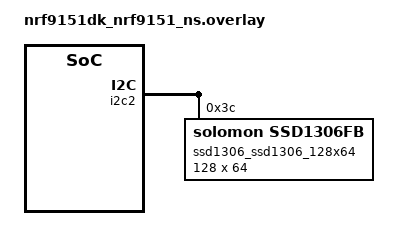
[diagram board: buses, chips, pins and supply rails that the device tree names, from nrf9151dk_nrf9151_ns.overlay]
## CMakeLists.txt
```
# SPDX-License-Identifier: Apache-2.0

cmake_minimum_required(VERSION 3.20.0)

find_package(Zephyr REQUIRED HINTS $ENV{ZEPHYR_BASE})
project(hello_world)

target_sources(app PRIVATE src/main.c)
target_include_directories(app PRIVATE src)
target_sources_ifdef(CONFIG_NRF_CLOUD_COAP app PRIVATE src/cloud_coap.c)
```

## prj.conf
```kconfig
# Logging
CONFIG_NRF_MODEM_LIB_TRACE=n
CONFIG_LOG=y
CONFIG_CFB_LOG_LEVEL_DBG=y

CONFIG_SERIAL=y
CONFIG_THREAD_NAME=y

CONFIG_NRF_CLOUD_LOG_LEVEL_DBG=y
CONFIG_NET_LOG=y
CONFIG_COAP_LOG_LEVEL_DBG=y
CONFIG_CLOUD_DISPLAY_LOG_LEVEL_DBG=y
CONFIG_LTE_LINK_CONTROL_LOG_LEVEL_DBG=n
CONFIG_NRF_PROVISIONING_LOG_LEVEL_DBG=y

# Display
CONFIG_DISPLAY=y
CONFIG_CHARACTER_FRAMEBUFFER=y
CONFIG_SHELL=y
CONFIG_CHARACTER_FRAMEBUFFER_SHELL=y

# Modem
CONFIG_NRF_MODEM_LIB=y
CONFIG_LTE_LINK_CONTROL=y
CONFIG_LTE_NETWORK_MODE_LTE_M=y
CONFIG_LTE_PSM_REQ=n
CONFIG_NEWLIB_LIBC=y

CONFIG_NETWORKING=y
CONFIG_NET_SOCKETS=y
CONFIG_NET_SOCKETS_OFFLOAD=y
CONFIG_NET_SOCKETS_POSIX_NAMES=y
CONFIG_NET_IPV6=n

# System
CONFIG_HEAP_MEM_POOL_SIZE=16384
CONFIG_MAIN_STACK_SIZE=2048

# nRF Cloud CoAP
CONFIG_NRF_CLOUD_SEC_TAG=111
CONFIG_NRF_CLOUD_CLIENT_ID_SRC_INTERNAL_UUID=y
CONFIG_MODEM_JWT=y
CONFIG_NRF_CLOUD_COAP=y
CONFIG_NEWLIB_LIBC_FLOAT_PRINTF=y

CONFIG_COAP_CLIENT_BLOCK_SIZE=1024
CONFIG_COAP_CLIENT_STACK_SIZE=6144

# nRF Provisioning
CONFIG_MODEM_KEY_MGMT=y
CONFIG_MODEM_ATTEST_TOKEN=y
CONFIG_DATE_TIME=y

CONFIG_NRF_PROVISIONING=y
CONFIG_NRF_PROVISIONING_COAP=y
CONFIG_NRF_PROVISIONING_ROOT_CA_SEC_TAG=111110
CONFIG_COAP_EXTENDED_OPTIONS_LEN=y
CONFIG_COAP_EXTENDED_OPTIONS_LEN_VALUE=64
CONFIG_COAP_CLIENT_MESSAGE_SIZE=1536
CONFIG_NRF_PROVISIONING_AUTO_INIT=n
CONFIG_NRF_PROVISIONING_CODEC=y
CONFIG_NRF_PROVISIONING_CBOR=y
CONFIG_ZCBOR=y
CONFIG_ZCBOR_CANONICAL=y
CONFIG_NRF_PROVISIONING_CBOR_RECORDS=20
CONFIG_NRF_PROVISIONING_RX_BUF_SZ=2048

CONFIG_SETTINGS=y
CONFIG_SETTINGS_FCB=y
CONFIG_FCB=y
CONFIG_FLASH_MAP=y
CONFIG_FLASH=y
CONFIG_FLASH_PAGE_LAYOUT=y

CONFIG_MODEM_INFO=y
CONFIG_MODEM_INFO_ADD_DEVICE=n
CONFIG_MODEM_INFO_ADD_NETWORK=n
CONFIG_MODEM_INFO_ADD_SIM=n
```

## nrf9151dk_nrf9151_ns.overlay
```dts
#include <zephyr/dt-bindings/input/input-event-codes.h>

/ {
	chosen {
		zephyr,display = &ssd1306_ssd1306_128x64;
	};
};

&i2c2 {
	status = "okay";
	zephyr,flash-buf-max-size = <64>;
	zephyr,concat-buf-size = <2048>;

	ssd1306_ssd1306_128x64: ssd1306@3c {
		compatible = "solomon,ssd1306fb";
		reg = <0x3c>;
		width = <128>;
		height = <64>;
		segment-offset = <0>;
		page-offset = <0>;
		display-offset = <0>;
		multiplex-ratio = <63>;
		segment-remap;
		com-invdir;
		prechargep = <0x22>;
	};
};
```

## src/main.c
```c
/*
 * Copyright (c) 2012-2014 Wind River Systems, Inc.
 *
 * SPDX-License-Identifier: Apache-2.0
 */

#include <stdio.h>
#include <zephyr/logging/log.h> 

#include <zephyr/device.h>
#include <zephyr/display/cfb.h>
#include <zephyr/kernel.h>

/** Add includes needed for LTE connection **/
#include <modem/nrf_modem_lib.h>
#include <modem/lte_lc.h>

#include <modem/modem_key_mgmt.h>
#include <net/nrf_provisioning.h>
#include <zephyr/sys/reboot.h>
#include <cJSON.h>

#include "nrf_provisioning_at.h"

#include "cloud.h"

LOG_MODULE_REGISTER(workshop_code,LOG_LEVEL_DBG);
/* Semaphore used to block the main thread until modem has established
 * an LTE connection.
 */
K_SEM_DEFINE(lte_connected, 0, 1);
K_SEM_DEFINE(provisioning_complete, 0, 1);

static struct nrf_provisioning_dm_change dmode;
static struct nrf_provisioning_mm_change mmode;

const struct device *dev;
uint16_t x_res;
uint16_t y_res;
uint16_t rows;
uint8_t ppt;
uint8_t font_width;
uint8_t font_height;

static void lte_handler(const struct lte_lc_evt *const evt)
{
        switch (evt->type) {
        case LTE_LC_EVT_NW_REG_STATUS:
                if (evt->nw_reg_status != LTE_LC_NW_REG_REGISTERED_HOME &&
                    evt->nw_reg_status != LTE_LC_NW_REG_REGISTERED_ROAMING) {
                        break;
                }

                LOG_INF("Connected to: %s network",
                       evt->nw_reg_status == LTE_LC_NW_REG_REGISTERED_HOME ? "home" : "roaming");

                k_sem_give(&lte_connected);
                break;

        case LTE_LC_EVT_PSM_UPDATE:
        case LTE_LC_EVT_EDRX_UPDATE:
        case LTE_LC_EVT_RRC_UPDATE:
        	LOG_INF("RRC mode: %s", evt->rrc_mode == LTE_LC_RRC_MODE_CONNECTED ? 
			"Connected" : "Idle");
			if (evt->rrc_mode == LTE_LC_RRC_MODE_CONNECTED) {
			cfb_print(dev, "              ", 20, 40);
			cfb_print(dev, "RRC Connected", 20, 40);
			cfb_framebuffer_finalize(dev);
			
			} else if (evt->rrc_mode == LTE_LC_RRC_MODE_IDLE) {
			cfb_print(dev, "              ", 20, 40);
			cfb_print(dev, "RRC Idle", 20, 40);
			cfb_framebuffer_finalize(dev);
			} else {
			cfb_print(dev, "              ", 20, 40);
			cfb_framebuffer_finalize(dev);
			}

	        break;	
        case LTE_LC_EVT_CELL_UPDATE:
        case LTE_LC_EVT_LTE_MODE_UPDATE:
        case LTE_LC_EVT_TAU_PRE_WARNING:
        case LTE_LC_EVT_NEIGHBOR_CELL_MEAS:
        case LTE_LC_EVT_MODEM_SLEEP_EXIT_PRE_WARNING:
        case LTE_LC_EVT_MODEM_SLEEP_EXIT:
        case LTE_LC_EVT_MODEM_SLEEP_ENTER:
        case LTE_LC_EVT_MODEM_EVENT:
                /* Handle LTE events */
                break;

        default:
                break;
        }
}

static void reboot_device(void)
{
	/* Disconnect from network gracefully */
	int ret = lte_lc_func_mode_set(LTE_LC_FUNC_MODE_OFFLINE);

	if (ret != 0) {
		LOG_ERR("Unable to set modem offline, error %d", ret);
	}

	sys_reboot(SYS_REBOOT_WARM);
}


static int modem_mode_cb(enum lte_lc_func_mode new_mode, void *user_data)
{
	enum lte_lc_func_mode fmode;
	char time_buf[64];
	int ret;

	ARG_UNUSED(user_data);

	if (lte_lc_func_mode_get(&fmode)) {
		LOG_ERR("Failed to read modem functional mode");
		ret = -EFAULT;
		return ret;
	}

	if (fmode == new_mode) {
		ret = fmode;
	} else if (new_mode == LTE_LC_FUNC_MODE_NORMAL) {
		/* Use the blocking call, because in next step
		 * the service will create a socket and call connect()
		 */
		ret = lte_lc_connect();

		if (ret) {
			LOG_ERR("lte_lc_connect() failed %d", ret);
		}
		LOG_INF("Modem connection restored");

		LOG_INF("Waiting for modem to acquire network time...");

		do {
			k_sleep(K_SECONDS(3));
			ret = nrf_provisioning_at_time_get(time_buf, sizeof(time_buf));
		} while (ret != 0);

		LOG_WRN("Network time obtained");
		ret = fmode;
	} else {
		ret = lte_lc_func_mode_set(new_mode);
		if (ret == 0) {
			LOG_ERR("Modem set to requested state %d", new_mode);
			ret = fmode;
		}
	}

	return ret;
}

static void device_mode_cb(enum nrf_provisioning_event event, void *user_data)
{
	ARG_UNUSED(user_data);

	switch (event) {
	case NRF_PROVISIONING_EVENT_START:
		LOG_INF("Provisioning started");
		break;
	case NRF_PROVISIONING_EVENT_STOP:
		LOG_WRN("Provisioning stopped");
		k_sem_give(&provisioning_complete);
		break;
	case NRF_PROVISIONING_EVENT_DONE:
		LOG_INF("Provisioning done, rebooting...");
		reboot_device();
		break;
	default:
		LOG_ERR("Unknown event");
		break;
	}
}



static int modem_configure_and_connect(void)
{
	int err;

	LOG_INF("Initializing modem library");
	err = nrf_modem_lib_init();
	if (err) {
		LOG_ERR("Failed to initialize the modem library, error: %d", err);
		return err;
	}

	LOG_INF("Connecting to LTE network");
	err = lte_lc_connect_async(lte_handler);
	if (err) {
		LOG_ERR("Error in lte_lc_connect_async, error: %d", err);
		return err;
	}
	return 0;
}

int display_init(void)
{

    /* Get devicetree identifier and make sure it is ready to use */
	dev = DEVICE_DT_GET(DT_CHOSEN(zephyr_display));
	if (!device_is_ready(dev)) {
		LOG_ERR("Device %s not ready", dev->name);
		return 0;
	}

	if (display_set_pixel_format(dev, PIXEL_FORMAT_MONO10) != 0) {
		if (display_set_pixel_format(dev, PIXEL_FORMAT_MONO01) != 0) {
			LOG_ERR("Failed to set required pixel format");
			return 0;
		}
	}

	LOG_INF("Initialized %s", dev->name);

	if (cfb_framebuffer_init(dev)) {
		LOG_ERR("Framebuffer initialization failed!");
		return 0;
	}
	cfb_framebuffer_clear(dev, true);

	display_blanking_off(dev);
	x_res = cfb_get_display_parameter(dev, CFB_DISPLAY_WIDTH);
	y_res = cfb_get_display_parameter(dev, CFB_DISPLAY_HEIGH);
	rows = cfb_get_display_parameter(dev, CFB_DISPLAY_ROWS);
	ppt = cfb_get_display_parameter(dev, CFB_DISPLAY_PPT);
	LOG_INF("x_res %d, y_res %d, ppt %d, rows %d, cols %d",
	       x_res,
	       y_res,
	       ppt,
	       rows,
	       cfb_get_display_parameter(dev, CFB_DISPLAY_COLS));

	cfb_framebuffer_invert(dev);

	cfb_set_kerning(dev, 1);
	cfb_framebuffer_set_font(dev,0);

	/* List available fonts */
	for (int idx = 0; idx < 3; idx++) {
		if (cfb_get_font_size(dev, idx, &font_width, &font_height)) {
			break;
		}
		cfb_framebuffer_set_font(dev, idx);
		LOG_WRN("font width %d, font height %d",
		       font_width, font_height);
	}

	return 0;
}

int main(void)
{
	int err;

	mmode.cb = modem_mode_cb;
	mmode.user_data = NULL;
	dmode.cb = device_mode_cb;
	dmode.user_data = NULL;

	LOG_INF("Hello World! %s\n", CONFIG_BOARD);

	display_init();

	err = modem_configure_and_connect();
	if (err) {
		LOG_ERR("Failed to configure the modem");
		return 0;
	}

	k_sem_take(&lte_connected, K_FOREVER);

	cfb_framebuffer_clear(dev, false);
	cfb_framebuffer_set_font(dev,0);
	cfb_print(dev, "Nordic", 40, 1);
	cfb_print(dev, "Semiconductor", 20, 10);
	cfb_print(dev, "EMEA FAE Workshop",12, 20);
	cfb_framebuffer_finalize(dev);

	err = nrf_provisioning_init(&mmode, &dmode);
		if (err) {
		LOG_ERR("Failed to initialize provisioning client");
		}
	k_sem_take(&provisioning_complete, K_FOREVER);
	LOG_INF("Provisioning complete");

	cloud_thread();

	return 0;
}
```

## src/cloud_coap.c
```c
#include <zephyr/kernel.h>
#include <zephyr/logging/log.h>
#include <zephyr/device.h>
#include <zephyr/display/cfb.h>
#include <net/nrf_cloud_coap.h>
#include <cJSON.h>

#include "cloud.h"

LOG_MODULE_REGISTER(cloud, CONFIG_CLOUD_DISPLAY_LOG_LEVEL);

extern const struct device *dev; //Enable access to display 
static void shadow_poll_timer_handler(struct k_timer *id);

K_SEM_DEFINE(shadow_poll_sem, 0, 1);
K_TIMER_DEFINE(shadow_poll_timer, shadow_poll_timer_handler, NULL);

char shadow_buffer[CONFIG_SHADOW_BUFFER_SIZE];

static void shadow_poll_timer_handler(struct k_timer *id)
{
    k_sem_give(&shadow_poll_sem);
}

/* display_string will be pointing to the string value inside the cJSON object,
    and will be freed together with input */
static int parse_config(cJSON *input, char **display_string)
{
    if (input == NULL) {
        return -EINVAL;
    }

    LOG_DBG("Shadow:\n%s\n", cJSON_Print(input));

    cJSON *config = cJSON_GetObjectItem(input, "config");
    if (config == NULL) {
        LOG_ERR("Could not find config object");
        return -1;
    }
    
    cJSON *display = cJSON_GetObjectItem(config, "display");
    if (display == NULL) {
        LOG_ERR("Could not find display config");
        return -1;
    }

    *display_string = cJSON_GetStringValue(display);
    return 0;
}

/* json is an allocated string that must be freed by the caller */
static int encode_config(char *display_string, char **json)
{
    if (display_string == NULL) {
        return -EINVAL;
    }

    cJSON *root = cJSON_CreateObject();
    if (root == NULL) {
        LOG_ERR("Failed to create root object");
        return -1;
    }

    cJSON *config = cJSON_CreateObject();
    if (config == NULL) {
        LOG_ERR("Failed to create config object");
        return -1;
    }

    cJSON_AddItemToObject(root, "config", config);

    if (cJSON_AddStringToObject(config, "display", display_string) == NULL) {
        LOG_ERR("Failed to add display string");
        cJSON_Delete(root);
        return -1;
    }

    *json = cJSON_Print(root);
    if (json == NULL) {
        LOG_ERR("Failed to print JSON string");
        cJSON_Delete(root);
        return -1;
    }

    cJSON_Delete(root);
    return 0;
}

int cloud_thread(void)
{
    int err;

    LOG_INF("Cloud thread started");
    
    err = nrf_cloud_coap_init();
    if (err) {
        LOG_ERR("Failed to init nRF Cloud CoAP: %d", err);
        return err;
    }

    err = nrf_cloud_coap_connect(NULL);
    if (err) {
        LOG_ERR("Failed to connect to nRF Cloud");
        return err;
    }

    LOG_DBG("Setting initial config");
    char *json = NULL;
    err = encode_config("", &json);
    if (err || json == NULL) {
        LOG_ERR("Failed to encode default config. err: %d, json: %p", err, json);
        return err;
    }

    err = nrf_cloud_coap_shadow_state_update(json);
    if (err) {
        LOG_ERR("Failed to update shadow state: %d", err);
        return err;
    }
    free(json);
    json = NULL;

    k_timer_start(&shadow_poll_timer, K_NO_WAIT, K_SECONDS(CONFIG_CLOUD_POLL_INTERVAL));

    while (true) {
        k_sem_take(&shadow_poll_sem, K_FOREVER);

        LOG_INF("Getting shadow");
        err = nrf_cloud_coap_shadow_get(shadow_buffer, CONFIG_SHADOW_BUFFER_SIZE, true);
        if (err) {
            LOG_ERR("Failed to get shadow delta: %d", err);
            continue;
        } else if (err == 0 && strlen(shadow_buffer) == 0) {
            LOG_INF("No changes to the shadow");
            continue;
        }

        LOG_DBG("Shadow delta:\n%s\n", shadow_buffer);

        struct nrf_cloud_data shadow_delta = {
            .ptr = shadow_buffer,
            .len = strlen(shadow_buffer)
        };
        struct nrf_cloud_obj shadow_config;

        err = nrf_cloud_coap_shadow_delta_process(&shadow_delta, &shadow_config);
        if (err) {
            LOG_ERR("Failed to process shadow delta: %d", err);
            goto shadow_cleanup;
        } else if (shadow_config.type != NRF_CLOUD_OBJ_TYPE_JSON) {
            LOG_ERR("Unsupported nRF Cloud object type: %d", shadow_config.type);
            goto shadow_cleanup;
        }

        char *string = NULL;
        err = parse_config(shadow_config.json, &string);
        if (err || string == NULL) {
            LOG_ERR("Failed to parse shadow: %d", err);
            goto shadow_cleanup;
        }
        LOG_DBG("Display: %s", string);

        // Do something with the string
        cfb_print(dev, "              ", 20, 50);
		cfb_print(dev, string, 20, 50);
        cfb_framebuffer_finalize(dev);

        // Set the string written to the display in the "reported" part of the shadow
        err = encode_config(string, &json);
        if (err || json == NULL) {
            LOG_ERR("Failed to encode default config");
            continue;
        }

        err = nrf_cloud_coap_shadow_state_update(json);
        if (err) {
            LOG_ERR("Failed to update shadow state: %d", err);
            goto json_cleanup;
        }

json_cleanup:
        free(json);
        json = NULL;
        
shadow_cleanup:
        err = nrf_cloud_obj_free(&shadow_config);
        if (err) {
            LOG_ERR("Failed to free shadow object: %d", err);
            continue;
        }
    }

    return 0;
}
```
